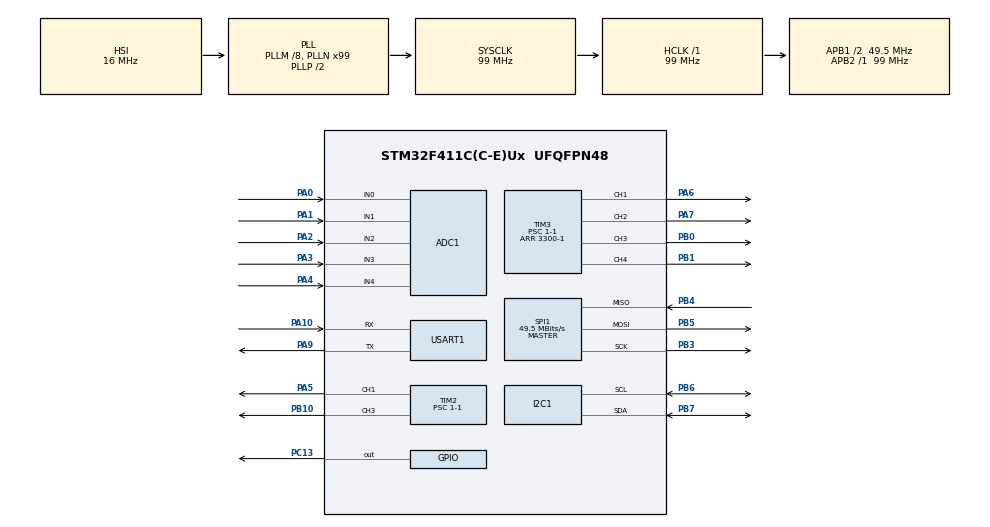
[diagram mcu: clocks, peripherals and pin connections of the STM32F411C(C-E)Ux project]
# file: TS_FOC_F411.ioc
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ADC1.Channel-2\#ChannelRegularConversion=ADC_CHANNEL_0
ADC1.Channel-3\#ChannelRegularConversion=ADC_CHANNEL_1
ADC1.Channel-4\#ChannelRegularConversion=ADC_CHANNEL_2
ADC1.Channel-5\#ChannelRegularConversion=ADC_CHANNEL_3
ADC1.Channel-6\#ChannelRegularConversion=ADC_CHANNEL_4
ADC1.Channel-7\#ChannelRegularConversion=ADC_CHANNEL_TEMPSENSOR
ADC1.ContinuousConvMode=ENABLE
ADC1.DMAContinuousRequests=ENABLE
ADC1.InjNumberOfConversion=0
ADC1.NbrOfConversion=6
ADC1.NbrOfConversionFlag=1
ADC1.Rank-2\#ChannelRegularConversion=1
ADC1.Rank-3\#ChannelRegularConversion=2
ADC1.Rank-4\#ChannelRegularConversion=3
ADC1.Rank-5\#ChannelRegularConversion=4
ADC1.Rank-6\#ChannelRegularConversion=5
ADC1.Rank-7\#ChannelRegularConversion=6
ADC1.SamplingTime-2\#ChannelRegularConversion=ADC_SAMPLETIME_15CYCLES
ADC1.SamplingTime-3\#ChannelRegularConversion=ADC_SAMPLETIME_15CYCLES
ADC1.SamplingTime-4\#ChannelRegularConversion=ADC_SAMPLETIME_15CYCLES
ADC1.SamplingTime-5\#ChannelRegularConversion=ADC_SAMPLETIME_15CYCLES
ADC1.SamplingTime-6\#ChannelRegularConversion=ADC_SAMPLETIME_15CYCLES
ADC1.SamplingTime-7\#ChannelRegularConversion=ADC_SAMPLETIME_15CYCLES
ADC1.master=1
Dma.ADC1.2.Direction=DMA_PERIPH_TO_MEMORY
Dma.ADC1.2.FIFOMode=DMA_FIFOMODE_DISABLE
Dma.ADC1.2.Instance=DMA2_Stream4
Dma.ADC1.2.MemDataAlignment=DMA_MDATAALIGN_HALFWORD
Dma.ADC1.2.MemInc=DMA_MINC_ENABLE
Dma.ADC1.2.Mode=DMA_CIRCULAR
Dma.ADC1.2.PeriphDataAlignment=DMA_PDATAALIGN_HALFWORD
Dma.ADC1.2.PeriphInc=DMA_PINC_DISABLE
Dma.ADC1.2.Priority=DMA_PRIORITY_LOW
Dma.I2C1_RX.1.Direction=DMA_PERIPH_TO_MEMORY
Dma.I2C1_RX.1.FIFOMode=DMA_FIFOMODE_DISABLE
Dma.I2C1_RX.1.Instance=DMA1_Stream0
Dma.I2C1_RX.1.MemDataAlignment=DMA_MDATAALIGN_BYTE
Dma.I2C1_RX.1.MemInc=DMA_MINC_ENABLE
Dma.I2C1_RX.1.Mode=DMA_NORMAL
Dma.I2C1_RX.1.PeriphDataAlignment=DMA_PDATAALIGN_BYTE
Dma.I2C1_RX.1.PeriphInc=DMA_PINC_DISABLE
Dma.I2C1_RX.1.Priority=DMA_PRIORITY_LOW
Dma.Request0=USART1_RX
Dma.Request1=I2C1_RX
Dma.Request2=ADC1
Dma.Request3=SPI1_RX
Dma.SPI1_RX.3.Direction=DMA_PERIPH_TO_MEMORY
Dma.SPI1_RX.3.FIFOMode=DMA_FIFOMODE_DISABLE
Dma.SPI1_RX.3.Instance=DMA2_Stream0
Dma.SPI1_RX.3.MemDataAlignment=DMA_MDATAALIGN_BYTE
Dma.SPI1_RX.3.MemInc=DMA_MINC_ENABLE
Dma.SPI1_RX.3.Mode=DMA_NORMAL
Dma.SPI1_RX.3.PeriphDataAlignment=DMA_PDATAALIGN_BYTE
Dma.SPI1_RX.3.PeriphInc=DMA_PINC_DISABLE
Dma.SPI1_RX.3.Priority=DMA_PRIORITY_LOW
Dma.USART1_RX.0.Direction=DMA_PERIPH_TO_MEMORY
Dma.USART1_RX.0.FIFOMode=DMA_FIFOMODE_DISABLE
Dma.USART1_RX.0.Instance=DMA2_Stream2
Dma.USART1_RX.0.MemDataAlignment=DMA_MDATAALIGN_BYTE
Dma.USART1_RX.0.MemInc=DMA_MINC_ENABLE
Dma.USART1_RX.0.Mode=DMA_NORMAL
Dma.USART1_RX.0.PeriphDataAlignment=DMA_PDATAALIGN_BYTE
Dma.USART1_RX.0.PeriphInc=DMA_PINC_DISABLE
Dma.USART1_RX.0.Priority=DMA_PRIORITY_LOW
I2C1.I2C_Mode=I2C_Fast
Mcu.Family=STM32F4
Mcu.Name=STM32F411C(C-E)Ux
Mcu.Package=UFQFPN48
NVIC.ADC_IRQn=true\:0\:0\:false\:false\:true\:true\:true\:true
NVIC.DMA1_Stream0_IRQn=true\:0\:0\:false\:false\:true\:false\:true\:true
NVIC.DMA2_Stream0_IRQn=true\:0\:0\:false\:false\:true\:false\:true\:true
NVIC.DMA2_Stream2_IRQn=true\:0\:0\:false\:false\:true\:false\:true\:true
NVIC.DMA2_Stream4_IRQn=true\:0\:0\:false\:false\:true\:false\:true\:true
NVIC.I2C1_EV_IRQn=true\:0\:0\:false\:false\:true\:true\:true\:true
NVIC.PriorityGroup=NVIC_PRIORITYGROUP_4
NVIC.TIM1_TRG_COM_TIM11_IRQn=true\:15\:0\:false\:false\:true\:false\:true\:true
NVIC.TimeBase=TIM1_TRG_COM_TIM11_IRQn
NVIC.TimeBaseIP=TIM11
NVIC.USART1_IRQn=true\:0\:0\:false\:false\:true\:true\:true\:true
PA0-WKUP.Signal=ADCx_IN0
PA1.Signal=ADCx_IN1
PA10.Mode=Asynchronous
PA10.Signal=USART1_RX
PA13.Mode=Serial_Wire
PA13.Signal=SYS_JTMS-SWDIO
PA14.Mode=Serial_Wire
PA14.Signal=SYS_JTCK-SWCLK
PA2.Signal=ADCx_IN2
PA3.Signal=ADCx_IN3
PA4.Signal=ADCx_IN4
PA5.Signal=S_TIM2_CH1_ETR
PA6.Signal=S_TIM3_CH1
PA7.Signal=S_TIM3_CH2
PA9.Mode=Asynchronous
PA9.Signal=USART1_TX
PB0.Signal=S_TIM3_CH3
PB1.Signal=S_TIM3_CH4
PB10.Signal=S_TIM2_CH3
PB3.Mode=Full_Duplex_Master
PB3.Signal=SPI1_SCK
PB4.Mode=Full_Duplex_Master
PB4.Signal=SPI1_MISO
PB5.Mode=Full_Duplex_Master
PB5.Signal=SPI1_MOSI
PB6.Mode=I2C
PB6.Signal=I2C1_SCL
PB7.Mode=I2C
PB7.Signal=I2C1_SDA
PC13-ANTI_TAMP.Signal=GPIO_Output
PH0\ -\ OSC_IN.Mode=HSE-External-Oscillator
PH0\ -\ OSC_IN.Signal=RCC_OSC_IN
PH1\ -\ OSC_OUT.Mode=HSE-External-Oscillator
PH1\ -\ OSC_OUT.Signal=RCC_OSC_OUT
ProjectManager.HeapSize=0x2000
ProjectManager.StackSize=0x4000
ProjectManager.TargetToolchain=Makefile
RCC.48MHZClocksFreq_Value=49500000
RCC.AHBFreq_Value=99000000
RCC.APB1CLKDivider=RCC_HCLK_DIV2
RCC.APB1Freq_Value=49500000
RCC.APB1TimFreq_Value=99000000
RCC.APB2Freq_Value=99000000
RCC.APB2TimFreq_Value=99000000
RCC.CortexFreq_Value=99000000
RCC.HCLKFreq_Value=99000000
RCC.HSE_VALUE=25000000
RCC.HSI_VALUE=16000000
RCC.LSE_VALUE=32768
RCC.PLLM=8
RCC.PLLN=99
RCC.SYSCLKFreq_VALUE=99000000
RCC.SYSCLKSource=RCC_SYSCLKSOURCE_PLLCLK
RCC.VCOOutputFreq_Value=198000000
SH.ADCx_IN0.0=ADC1_IN0,IN0
SH.ADCx_IN1.0=ADC1_IN1,IN1
SH.ADCx_IN2.0=ADC1_IN2,IN2
SH.ADCx_IN3.0=ADC1_IN3,IN3
SH.ADCx_IN4.0=ADC1_IN4,IN4
SH.S_TIM2_CH1_ETR.0=TIM2_CH1,PWM Generation1 CH1
SH.S_TIM2_CH3.0=TIM2_CH3,PWM Generation3 CH3
SH.S_TIM3_CH1.0=TIM3_CH1,PWM Generation1 CH1
SH.S_TIM3_CH2.0=TIM3_CH2,PWM Generation2 CH2
SH.S_TIM3_CH3.0=TIM3_CH3,PWM Generation3 CH3
SH.S_TIM3_CH4.0=TIM3_CH4,PWM Generation4 CH4
SPI1.CalculateBaudRate=49.5 MBits/s
SPI1.Direction=SPI_DIRECTION_2LINES
SPI1.Mode=SPI_MODE_MASTER
SPI1.VirtualType=VM_MASTER
TIM2.AutoReloadPreload=TIM_AUTORELOAD_PRELOAD_ENABLE
TIM2.Channel-PWM\ Generation1\ CH1=TIM_CHANNEL_1
TIM2.Channel-PWM\ Generation3\ CH3=TIM_CHANNEL_3
TIM2.Period=3300-1
TIM2.Prescaler=1-1
TIM3.AutoReloadPreload=TIM_AUTORELOAD_PRELOAD_ENABLE
TIM3.Channel-PWM\ Generation1\ CH1=TIM_CHANNEL_1
TIM3.Channel-PWM\ Generation2\ CH2=TIM_CHANNEL_2
TIM3.Channel-PWM\ Generation3\ CH3=TIM_CHANNEL_3
TIM3.Channel-PWM\ Generation4\ CH4=TIM_CHANNEL_4
TIM3.Period=3300-1
TIM3.Prescaler=1-1
USART1.VirtualMode=VM_ASYNC
VP_ADC1_TempSens_Input.Mode=IN-TempSens
VP_CRC_VS_CRC.Mode=CRC_Activate
VP_SYS_VS_tim11.Mode=TIM11
board=custom

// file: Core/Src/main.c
/* USER CODE BEGIN Header */
/**
  ******************************************************************************
  * @file           : main.c
  * @brief          : Main program body
  ******************************************************************************
  * @attention
  *
  * Copyright (c) 2024 STMicroelectronics.
  * All rights reserved.
  *
  * This software is licensed under terms that can be found in the LICENSE file
  * in the root directory of this software component.
  * If no LICENSE file comes with this software, it is provided AS-IS.
  *
  ******************************************************************************
  */
/* USER CODE END Header */
#include "main.h"
#include "adc.h"
#include "crc.h"
#include "dma.h"
#include "i2c.h"
#include "spi.h"
#include "tim.h"
#include "usart.h"
#include "gpio.h"

/* USER CODE BEGIN Includes */

#include "as5600.h"
#include "ts_foc.h"
#include "lowpass_filter.h"
#include "pid.h"
#include "inlinecurrent.h"
#include "user_api.h"

/* USER CODE END Includes */

/* USER CODE BEGIN PTD */
//Serial port redirection
#ifdef __GNUC__
#define PUTCHAR_PROTOTYPE int __io_putchar(int ch)
#else
#define PUTCHAR_PROTOTYPE int fputc(int ch, FILE *f)
#endif
PUTCHAR_PROTOTYPE
{
    HAL_UART_Transmit(&huart1 , (uint8_t *)&ch, 1,2000);
    //重定向到对应的串口即可
    return ch;
}

/* USER CODE END PTD */

void SystemClock_Config(void);

int main(void)
{

  /* MCU Configuration--------------------------------------------------------*/

  /* Reset of all peripherals, Initializes the Flash interface and the Systick. */
  HAL_Init();

  /* Configure the system clock */
  SystemClock_Config();

  /* Initialize all configured peripherals */
  MX_GPIO_Init();
  MX_DMA_Init();
  MX_CRC_Init();
  MX_I2C1_Init();
  MX_USART1_UART_Init();
  MX_ADC1_Init();
  MX_TIM3_Init();
  MX_TIM2_Init();
  MX_SPI1_Init();
  /* USER CODE BEGIN 2 */

  // HAL_ADC_Start_DMA(&hadc1, (uint32_t*)&adc_buffer, 1); // Start ADC DMA

  HAL_TIM_PWM_Start(&htim2, TIM_CHANNEL_1); // Start PWM timer
  HAL_TIM_PWM_Start(&htim2, TIM_CHANNEL_3); // Start PWM timer
  HAL_TIM_PWM_Start(&htim3, TIM_CHANNEL_1); // Start PWM timer
  HAL_TIM_PWM_Start(&htim3, TIM_CHANNEL_2); // Start PWM timer
  HAL_TIM_PWM_Start(&htim3, TIM_CHANNEL_3); // Start PWM timer
  HAL_TIM_PWM_Start(&htim3, TIM_CHANNEL_4); // Start PWM timer

  Motor * motor1;
  motor1 = (Motor *)malloc(sizeof(Motor) * 1);
  motor1->Motor_ID = 1;
  motor1->PP = 7;
  motor1->DIR = 1;
  motor1->As5600_Sensor = (As5600_Sensor_Typedef *)malloc(sizeof(As5600_Sensor_Typedef) * 1);
  motor1->As5600_Sensor->Rotations = 0;
  Read_AS5600_Angle(motor1->As5600_Sensor);
  motor1->Motor_Set_Compare1 = Motor1_Set_Compare1;
  motor1->Motor_Set_Compare2 = Motor1_Set_Compare2;
  motor1->Motor_Set_Compare3 = Motor1_Set_Compare3;
  motor1->voltage_power_supply = 12.0;
  motor1->zero_electric_angle = 0;
  motor1->Ualpha = motor1->Ubeta = motor1->Ua = motor1->Ub = motor1->Uc = 0;

  /* USER CODE END 2 */

  /* Infinite loop */
  /* USER CODE BEGIN WHILE */
  Read_AS5600_Angle(motor1->As5600_Sensor);
  //计算0电角度->后续规整到电机初始化当中
  setTorque(motor1,2, _3PI_2);
  HAL_Delay(1000);
  Read_AS5600_Angle(motor1->As5600_Sensor);
  motor1->zero_electric_angle = _electricalAngle(motor1);
  setTorque(motor1,0, _3PI_2);
  printf("0电角度:%d\r\n",(int)(motor1->zero_electric_angle*1000));
  HAL_Delay(1000);
  printf("init_ok\r\n");

  float Kp = 0.05; //位置环比例系数
  while (1)
  {
    // HAL_Delay(100);

    HAL_GPIO_TogglePin(GPIOC, GPIO_PIN_13);

    Read_AS5600_Angle(motor1->As5600_Sensor);   // Read the angle of the AS5600 sensor

    printf("Angle:%d,圈数:%d\r\n",(int)(Get_AS5600_Angle(motor1->As5600_Sensor)*1000),(int)(motor1->As5600_Sensor->Rotations));

    // setTorque(motor1, 1, _electricalAngle(motor1));   //力矩闭环
    setTorque(motor1,Kp*(3.-motor1->DIR*Get_AS5600_Angle(motor1->As5600_Sensor))*180./PI,_electricalAngle(motor1));   //位置闭环

    /* USER CODE END WHILE */

  }
}

void SystemClock_Config(void)
{
  RCC_OscInitTypeDef RCC_OscInitStruct = {0};
  RCC_ClkInitTypeDef RCC_ClkInitStruct = {0};

  /** Configure the main internal regulator output voltage
  */
  __HAL_RCC_PWR_CLK_ENABLE();
  __HAL_PWR_VOLTAGESCALING_CONFIG(PWR_REGULATOR_VOLTAGE_SCALE1);

  /** Initializes the RCC Oscillators according to the specified parameters
  * in the RCC_OscInitTypeDef structure.
  */
  RCC_OscInitStruct.OscillatorType = RCC_OSCILLATORTYPE_HSI;
  RCC_OscInitStruct.HSIState = RCC_HSI_ON;
  RCC_OscInitStruct.HSICalibrationValue = RCC_HSICALIBRATION_DEFAULT;
  RCC_OscInitStruct.PLL.PLLState = RCC_PLL_ON;
  RCC_OscInitStruct.PLL.PLLSource = RCC_PLLSOURCE_HSI;
  RCC_OscInitStruct.PLL.PLLM = 8;
  RCC_OscInitStruct.PLL.PLLN = 99;
  RCC_OscInitStruct.PLL.PLLP = RCC_PLLP_DIV2;
  RCC_OscInitStruct.PLL.PLLQ = 4;
  if (HAL_RCC_OscConfig(&RCC_OscInitStruct) != HAL_OK)
  {
    Error_Handler();
  }

  /** Initializes the CPU, AHB and APB buses clocks
  */
  RCC_ClkInitStruct.ClockType = RCC_CLOCKTYPE_HCLK|RCC_CLOCKTYPE_SYSCLK
                              |RCC_CLOCKTYPE_PCLK1|RCC_CLOCKTYPE_PCLK2;
  RCC_ClkInitStruct.SYSCLKSource = RCC_SYSCLKSOURCE_PLLCLK;
  RCC_ClkInitStruct.AHBCLKDivider = RCC_SYSCLK_DIV1;
  RCC_ClkInitStruct.APB1CLKDivider = RCC_HCLK_DIV2;
  RCC_ClkInitStruct.APB2CLKDivider = RCC_HCLK_DIV1;

  if (HAL_RCC_ClockConfig(&RCC_ClkInitStruct, FLASH_LATENCY_3) != HAL_OK)
  {
    Error_Handler();
  }
}

void HAL_TIM_PeriodElapsedCallback(TIM_HandleTypeDef *htim)
{
  if (htim->Instance == TIM11) {
    HAL_IncTick();
  }
}

void Error_Handler(void)
{
  __disable_irq();
  while (1)
  {
  }
}
